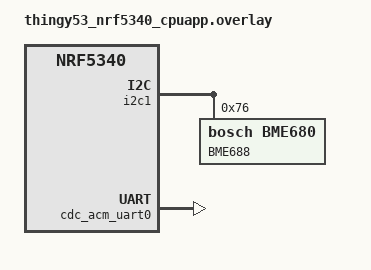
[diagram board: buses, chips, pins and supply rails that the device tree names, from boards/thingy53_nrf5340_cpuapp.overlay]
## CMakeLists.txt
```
#
# Copyright (c) 2018 Nordic Semiconductor
#
# SPDX-License-Identifier: LicenseRef-Nordic-5-Clause
#
cmake_minimum_required(VERSION 3.20.0)

set(PM_STATIC_YML_FILE
  ${CMAKE_CURRENT_SOURCE_DIR}/boards/pm_static_${BOARD}.yml
  )

find_package(Zephyr REQUIRED HINTS $ENV{ZEPHYR_BASE})
project(NONE)

# NORDIC SDK APP START
target_sources(app PRIVATE
  src/main.c
  src/sensors/bme680.c
  # src/sensors/bmi270.c
  src/sensors/hcsr04.c
  src/processors/alerts.c
  src/comms/bluetooth.c
  src/comms/bt_service_data.c
  src/comms/bt_service_alerts.c
)

zephyr_include_directories (
  ./include
)

# Preinitialization related to Thingy:53 DFU
target_sources_ifdef(CONFIG_BOARD_THINGY53_NRF5340_CPUAPP app PRIVATE
  boards/thingy53.c
)
target_sources_ifdef(CONFIG_BOARD_THINGY53_NRF5340_CPUAPP_NS app PRIVATE
  boards/thingy53.c
)

# NORDIC SDK APP END
zephyr_library_include_directories(
  .
)
```

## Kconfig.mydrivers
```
#
# Copyright (c) 2018 Nordic Semiconductor
#
# SPDX-License-Identifier: LicenseRef-Nordic-5-Clause
#

rsource "drivers/Kconfig"
```

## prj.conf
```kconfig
#
# Copyright (c) 2018 Nordic Semiconductor
#
# SPDX-License-Identifier: LicenseRef-Nordic-5-Clause
#
CONFIG_NCS_SAMPLES_DEFAULTS=y

CONFIG_BT=y
CONFIG_BT_PERIPHERAL=y
CONFIG_BT_DEVICE_NAME="Garbage Collector IoT"

# Logging
CONFIG_LOG=y
CONFIG_CONSOLE=y
CONFIG_UART_LINE_CTRL=y
CONFIG_UART_CONSOLE=y

# Sensors
CONFIG_I2C=y
CONFIG_SENSOR=y
CONFIG_BME680=y
CONFIG_GPIO=y
# CONFIG_SPI=y
# CONFIG_BMI270=y

CONFIG_SYSTEM_WORKQUEUE_STACK_SIZE=2048
```

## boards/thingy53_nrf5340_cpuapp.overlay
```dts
/*
 * Copyright (c) 2021 Nordic Semiconductor ASA
 *
 * SPDX-License-Identifier: LicenseRef-Nordic-5-Clause
 */

/ {
	chosen {
		nordic,pm-ext-flash = &mx25r64;
	};
	
	// dummy: dummy {
	// 	compatible = "agamb,dummy";
	// 	label = "DUMMY-0";
	// 	status = "okay";
	// };

	// hcsr04: hcsr04 {
	//  	compatible = "agamb,hc-sr04";
	//  	label = "HC_SR04";
	//  	gpios = <&gpio0 4 GPIO_ACTIVE_HIGH>;
	//  	// echo-gpios = <&gpio0 5 GPIO_ACTIVE_HIGH>;
	//  	status = "okay";
	// };
};

&i2c1 {
	status = "okay";

	bme688@76 {
		compatible = "bosch,bme680";
		label = "BME688";
		reg = <0x76>;
		status = "okay";
	};
};

/* Taken from common.dts */
// &spi3 {
// 	status= "okay";

// 	bmi270: spi-dev-bmi270@1 {
// 		compatible = "bosch,bmi270";
// 		label = "BMI270";
// 		spi-max-frequency = <8000000>;
// 		reg = <1>;
// 		int1-gpios = <&gpio0 23 0>;
// 	};
// };

/*
 * This section is used to enable a partition which is used through the flash API
 * but which is in reality stored in RAM. This is done to load data from
 * external flash to the network core. Since the network core cannot access
 * the external flash directly, the data is buffered in RAM before being
 * copied by the network core to the network core flash.
 *
 * The partition must be enabled by the application configuration to prevent
 * bus faults when mcumgr tries to access simulated partition with network core
 * image data.
 */

/ {
	soc {
		/* Add a flash controller which has the compatible
		 * 'zephyr,sim-flash'. This will ensure that the flash
		 * simulator can use it. None of the other properties in this
		 * node is used for anything.
		 */
		nordic_ram_flash_controller: nordic_ram-flash-controller@0 {
			compatible = "zephyr,sim-flash";
			reg = <0x00000000 DT_SIZE_K(40)>;
			#address-cells = <1>;
			#size-cells = <1>;
			erase-value = <0xff>;
			label = "nordic_ram_flash_flash_controller";

			/* This node label must match that used in the flash
			 * simulator.
			 */
			flash_sim0: flash_sim@0 {
				status = "okay";
				compatible = "soc-nv-flash";
				label = "simulated_flash";
				erase-block-size = <4096>;
				write-block-size = <4>;
				reg = <0x00000000 DT_SIZE_K(256)>;

				partitions {
					compatible = "fixed-partitions";
					#address-cells = <1>;
					#size-cells = <1>;

					/* This partition must be defined for
					 * MCUboot to find the partition ID
					 * of the primary slot for image 1,
					 * which is stored in this partition.
					 */
					slot2_partition: partition@0 {
						label = "image-2";
						reg = <0x00000000 0x00000A000>;
					};
				};
			};
		};
	};

	chosen {
		zephyr,console = &cdc_acm_uart0;
	};
	
};

&zephyr_udc0 {
	cdc_acm_uart0: cdc_acm_uart0 {
		compatible = "zephyr,cdc-acm-uart";
		label = "CDC_ACM_0";
	};
};
```

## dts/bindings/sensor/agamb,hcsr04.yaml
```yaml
description: HC-SR04 Sensor - Ultrasonic Ranging Module

compatible: "agamb,hcsr04"

include: base.yaml

properties:
  label:
    required: true
    type: string
    description: Human readable string describing the device (used as device_get_binding() argument)

  status:
    required: true
    type: string
    description: Human readable string describing the device's status

  trig-gpios:
    type: phandle-array
    description: Trigger pin
    required: true

  echo-gpios:
    type: phandle-array
    description: Echo pin
    required: true
```

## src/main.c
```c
// Standard includes
#include <stddef.h>
#include <string.h>
#include <errno.h>

// SO and board includes
#include <soc.h>
#include <zephyr/kernel.h>
#include <zephyr/sys/printk.h>
#include <zephyr/settings/settings.h>

// Configuration
#include "config/constants.h"

// Peripherals includes
#include "sensors/bme680.h"
#include "sensors/hcsr04.h"

// Data collected/alerts types
#include "data/container.h"
#include "data/alerts.h"

// Data processor functions
#include "processors/alerts.h"

// Communication functions
#include "comms/bluetooth.h"

// Global data
static t_container g_container = {0};
static t_alerts g_alerts = {0};

/**  
 * Initialize phase function
 */
void initialize (void)
{
// 	// Configure sensor peripherals
	hcsr04_init ();
	bme680_init ();
	
	// Configure comms peripherals
 	bt_init ();
}

/**  
 * Data Collection phase function
 */
void data_collection (void)
{
	// Temp variables
	t_container container;
	uint32_t distance = 0;
	float temperature = -1.0;
	float humidity = -1.0;
	int err = 0;

	// Update fill status
	distance = hcsr04_measure ();
	container.fill_val = distance;
	if (distance < FILL_ERROR_THRESHOLD)
	{
		container.fill = F_ERROR;
	} 
	else if (distance >= FILL_EMPTY_THRESHOLD) 
	{
		container.fill = F_EMPTY;
	} 
	else if (distance >= FILL_25P_THRESHOLD) 
	{
		container.fill = F_25P;
	} 
	else if (distance >= FILL_50P_THRESHOLD) 
	{
		container.fill = F_50P;
	} 
	else if (distance >= FILL_75P_THRESHOLD) 
	{
		container.fill = F_75P;
	} 
	else // if (distance >= FILL_FULL_THRESHOLD)
	{
		container.fill = F_FULL;
	}

	// Update Temperature and Humidity
	err = bme680_update_measurements ();

	err = bme680_get_temperature (&temperature);
	container.temperature_val = temperature;
	if (err == 0)
	{
		if (temperature <= MIN_TEMP_THRESHOLD)
		{
			container.temperature = T_LOW;
		} 
		else if (temperature >= MAX_TEMP_THRESHOLD) 
		{
			container.temperature = T_HIGH;
		} 
		else 
		{
			container.temperature = T_NORMAL;
		}
	} else {
		container.temperature = T_ERROR;
	}
	
	err = bme680_get_humidity (&humidity);
	container.humidity_val = humidity;
	if (err == 0)
	{
		if (humidity <= HUM_LOW_THRESHOLD)
		{
			container.humidity = H_LOW;
		} 
		else if (humidity >= HUM_HIGH_THRESHOLD) 
		{
			container.humidity = H_HIGH;
		} 
		else 
		{
			container.humidity = H_MEDIUM;
		}
	} else {
		container.humidity = H_ERROR;
	}

// 	// Update position
// 	// TODO: Implement SPI Driver
	container.position.x_axis = 0.0;
	container.position.y_axis = 0.0;
	container.position.z_axis = 0.0;
	
	// End collection
	g_container = container;
}

/**  
 * Data Processing phase function
 */
void data_processing (void)
{
	t_alerts alerts_status;
	// Process Filled alert
	alerts_status.filled = alertFilled (g_container.fill);

	// Process Temperature alert
	alerts_status.temperature = alertTemperature (g_container.temperature);
	
	// Process Humidity alert
	alerts_status.humidity = alertHumidity (g_container.humidity);
	
	// Process Position alert
	alerts_status.position = alertPosition (g_container.position);

	// End processing
	g_alerts = alerts_status;
}

/**  
 * Data Publication phase function
 */
void data_publication (void)
{
	bt_update (g_container, g_alerts);
}

/** 
 * Main function
 */
void main(void)
{
	printk("Starting Garbage Collection IoT\n");
	
  	// Initialize phase
	initialize ();

	for (;;) {
		// Wait until next measure time
		k_sleep(K_MSEC(SLEEP_TIME_MS));
	
		// Data Collection 
		data_collection ();

		// Data Processing
		data_processing ();

		// Data publication 
		data_publication ();
	}
}
```

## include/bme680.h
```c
/*
 * Copyright (c) 2022 Nordic Semiconductor ASA
 *
 * SPDX-License-Identifier: LicenseRef-Nordic-5-Clause
 */

#ifndef SENSOR_H
#define SENSOR_H

#include <zephyr/drivers/sensor.h>

/* Measurements ranges for Bosch BME688 bme680 */
#define SENSOR_TEMP_CELSIUS_MIN (-40)
#define SENSOR_TEMP_CELSIUS_MAX (85)
#define SENSOR_TEMP_CELSIUS_TOLERANCE (1)
#define SENSOR_PRESSURE_KPA_MIN (30)
#define SENSOR_PRESSURE_KPA_MAX (110)
#define SENSOR_PRESSURE_KPA_TOLERANCE (0)
#define SENSOR_HUMIDITY_PERCENT_MIN (10)
#define SENSOR_HUMIDITY_PERCENT_MAX (90)
#define SENSOR_HUMIDITY_PERCENT_TOLERANCE (3)

/**
 * @brief Initializes Bosch BME688 bme680.
 *
 * @note Has to be called before other functions are used.
 *
 * @return 0 if success, error code if failure.
 */
int bme680_init(void);

/**
 * @brief Updates and stores internally data measured by bme680.
 *
 * @note A single call updates temperature, pressure and humidity values at once.
 *
 * @return 0 if success, error code if failure.
 */
int bme680_update_measurements(void);

/**
 * @brief Provides last measured value of temperature.
 *
 * @note Call bme680_update_measurements() to update the value.
 *
 * @param temperature [out] temperature value in Celsiuss degrees.
 *
 * @return 0 if success, error code if failure.
 */
int bme680_get_temperature(float *temperature);

/**
 * @brief Provides last measured value of pressure.
 *
 * @note Call bme680_update_measurements() to update the value.
 *
 * @param pressure [out] pressure value in kPa.
 *
 * @return 0 if success, error code if failure.
 */
int bme680_get_pressure(float *pressure);

/**
 * @brief Provides last measured value of relative humidity.
 *
 * @note Call bme680_update_measurements() to update the value.
 *
 * @param humidity [out] relative humidity value in %.
 *
 * @return 0 if success, error code if failure.
 */
int bme680_get_humidity(float *humidity);

#endif /* SENSOR_H */
```

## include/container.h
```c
#ifndef _INCLUDE_CONTAINER_H_
#define _INCLUDE_CONTAINER_H_

// Filled type 
typedef enum t_fill {
    F_ERROR = 0,
    F_EMPTY, 
    F_25P, 
    F_50P, 
    F_75P, 
    F_FULL,
} t_fill;

// Status fill is the distance to the garbage inside the container
// The greater the distance, the less garbage in the container
#define FILL_ERROR_THRESHOLD 0.0f
#define FILL_EMPTY_THRESHOLD 100.0f
#define FILL_25P_THRESHOLD 75.0f
#define FILL_50P_THRESHOLD 50.0f
#define FILL_75P_THRESHOLD 25.0f
#define FILL_FULL_THRESHOLD 0.0f

// Positional type
typedef struct {
    float x_axis;
    float y_axis;
    float z_axis;
} t_position;

// Humidity type
typedef enum t_humidity {
    H_ERROR = 0,
    H_LOW, 
    H_MEDIUM,
    H_HIGH,
} t_humidity;

#define HUM_LOW_THRESHOLD 25.0f
#define HUM_HIGH_THRESHOLD 75.0f

// Temperature type
typedef enum t_temperature {
    T_ERROR = 0, 
    T_LOW, 
    T_NORMAL,
    T_HIGH,
} t_temperature;

#define MIN_TEMP_THRESHOLD -10.0f
#define MAX_TEMP_THRESHOLD 50.0f

// Container status type
typedef struct t_container {
    t_fill fill_status;
    t_position position;
    t_humidity humidity;
    t_temperature temperature;
} t_container;

#endif // _INCLUDE_CONTAINER_H_
```

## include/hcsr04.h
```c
#ifndef _INCLUDE_HCSR04_H_
#define _INCLUDE_HCSR04_H_

#include <stdint.h>

void hcsr04_init ();

float hcsr04_measure ();

#endif // _INCLUDE_HCSR04_H_
```

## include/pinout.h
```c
#ifndef _INCLUDE_PINOUT_H_
#define _INCLUDE_PINOUT_H_

#define HCSR04_PORT		"GPIO_0"
#define HCSR04_TRIG_PIN	4
#define HCSR04_ECHO_PIN	5




#endif // _INCLUDE_PINOUT_H_
```

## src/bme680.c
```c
/*
 * Copyright (c) 2022 Nordic Semiconductor ASA
 *
 * SPDX-License-Identifier: LicenseRef-Nordic-5-Clause
 */

#include <zephyr/logging/log.h>

#include "bme680.h"

/*
 * Sensor value is represented as having an integer and a fractional part,
 * and can be obtained using the formula val1 + val2 * 10^(-6).
 */
#define SENSOR_VAL2_DIVISOR 1000000

static const struct device *bme680;

/*
 * Sensor value is represented as having an integer and a fractional part,
 * and can be obtained using the formula val1 + val2 * 10^(-6). Negative
 * values also adhere to the above formula, but may need special attention.
 * Here are some examples of the value representation:
 *
 *      0.5: val1 =  0, val2 =  500000
 *     -0.5: val1 =  0, val2 = -500000
 *     -1.0: val1 = -1, val2 =  0
 *     -1.5: val1 = -1, val2 = -500000
 */
static float convert_sensor_value(struct sensor_value value)
{
	float result = 0.0f;

	/* Determine sign */
	result = (value.val1 < 0 || value.val2 < 0) ? -1.0f : 1.0f;

	/* Use absolute values */
	value.val1 = value.val1 < 0 ? -value.val1 : value.val1;
	value.val2 = value.val2 < 0 ? -value.val2 : value.val2;

	/* Calculate value */
	result *= (value.val1 + value.val2 / (float)SENSOR_VAL2_DIVISOR);

	return result;
}

int bme680_init(void)
{
	int err = 0;

	if (bme680) {
		printk ("Sensor already initialized");
	} else {
		bme680 = DEVICE_DT_GET(DT_INST(0, bosch_bme680));
		if (!bme680) {
			printk ("Failed to get device");
			err = ENODEV;
		}
	}

	return err;
}

int bme680_update_measurements(void)
{
	int err = 0;

	if (bme680) {
		err = sensor_sample_fetch(bme680);
	} else {
		printk ("Sensor not initialized");
		err = ENODEV;
	}

	return err;
}

int bme680_get_temperature(float *temperature)
{
	int err = 0;

	if (temperature) {
		if (bme680) {
			struct sensor_value sensor_temperature;

			err = sensor_channel_get(bme680,
						 SENSOR_CHAN_AMBIENT_TEMP,
						 &sensor_temperature);
			if (err) {
				printk ("Failed to get sensor channel: %d", err);
			} else {
				printk ("Sensor    T:%3d.%06d [*C]",
					sensor_temperature.val1, sensor_temperature.val2);
				*temperature = convert_sensor_value(sensor_temperature);
			}
		} else {
			printk ("Sensor not initialized");
			err = ENODEV;
		}
	} else {
		printk ("NULL param");
		err = EINVAL;
	}

	return err;
}

int bme680_get_pressure(float *pressure)
{
	int err = 0;

	if (pressure) {
		if (bme680) {
			struct sensor_value sensor_pressure;

			err = sensor_channel_get(bme680,
						 SENSOR_CHAN_PRESS,
						 &sensor_pressure);
			if (err) {
				printk ("Failed to get sensor channel: %d", err);
			} else {
				printk ("Sensor    P:%3d.%06d [kPa]",
					sensor_pressure.val1, sensor_pressure.val2);
				*pressure = convert_sensor_value(sensor_pressure);
			}
		} else {
			printk ("Sensor not initialized");
			err = ENODEV;
		}
	} else {
		printk ("NULL param");
		err = EINVAL;
	}

	return err;
}

int bme680_get_humidity(float *humidity)
{
	int err = 0;

	if (humidity) {
		if (bme680) {
			struct sensor_value sensor_humidity;

			err = sensor_channel_get(bme680,
						 SENSOR_CHAN_HUMIDITY,
						 &sensor_humidity);
			if (err) {
				printk ("Failed to get sensor channel: %d", err);
			} else {
				printk ("Sensor    H:%3d.%06d [%%]",
					sensor_humidity.val1, sensor_humidity.val2);
				*humidity = convert_sensor_value(sensor_humidity);
			}
		} else {
			printk ("Sensor not initialized");
			err = ENODEV;
		}
	} else {
		printk ("NULL param");
		err = EINVAL;
	}

	return err;
}
```

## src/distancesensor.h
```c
#include <zephyr/device.h>
#include <zephyr/devicetree.h>

#define MY_SENSOR DT_NODELABEL(distancesensor)

const struct device *sensor_dev = DEVICE_DT_GET (MY_SENSOR);
```

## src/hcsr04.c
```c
#include "hcsr04.h"
#include "pinout.h"

#include <stddef.h>
#include <string.h>
#include <errno.h>

#include <zephyr/device.h>
#include <zephyr/devicetree.h>
#include <zephyr/drivers/gpio.h>

static const struct device *hcsr04_dev;

void hcsr04_init ()
{
	printk("Starting HC-SR04 Peripheral\n");

    // Get Port device for HC-SR04
    hcsr04_dev = device_get_binding(HCSR04_PORT);

    if (hcsr04_dev == NULL)
    {
        printk ("Error binding device: HCSR04_PORT");
    }
    else
    {
        printk ("Port device name: %s\n", hcsr04_dev->name);
    }

    // Configure trigger pin
	printk (" Configuring trigger pin.\n");
	gpio_pin_configure(hcsr04_dev, HCSR04_TRIG_PIN, GPIO_OUTPUT);
	printk (" Trigger pin configured.\n");

    // Configure echo pin
    printk (" Configuring echo pin.\n");
    gpio_pin_configure(hcsr04_dev, HCSR04_ECHO_PIN, (GPIO_INPUT | GPIO_ACTIVE_HIGH));
	printk (" Echo pin configured.\n");

	printk("HCSR04 Configured!\n");
}

float hcsr04_measure ()
{
	uint32_t cycle_start;
	uint32_t cycle_stop;
	uint32_t cycle_diff;
	uint32_t measure_time;
	uint32_t val;

	float distance = -1.0f; // in cm

    if (hcsr04_dev != NULL)
    {
		// Trigger measure
		gpio_pin_set(hcsr04_dev, HCSR04_TRIG_PIN, 1);
		k_sleep(K_MSEC(10));
		gpio_pin_set(hcsr04_dev, HCSR04_TRIG_PIN, 0);

		// Check echo response
		do {
		 	val = gpio_pin_get(hcsr04_dev, HCSR04_ECHO_PIN);
		} while (val == 0);
		cycle_start = k_cycle_get_32();

		do {
			val = gpio_pin_get(hcsr04_dev, HCSR04_ECHO_PIN);
			cycle_stop = k_cycle_get_32();      
			cycle_diff = cycle_stop - cycle_start;
			if (cycle_diff > 1266720) //260cm for 84MHz (((MAX_RANGE * 58000) / 1000000000) * (CLOCK * 1000000))
			{
				break;
			}
		} while (val == 1);
        
		measure_time = k_cyc_to_ns_floor64(cycle_diff);
		distance = measure_time / 58000;
		printk("%d ns\n", measure_time);
		printk("%f cm\n", distance);
    }

	return distance;
}
```
